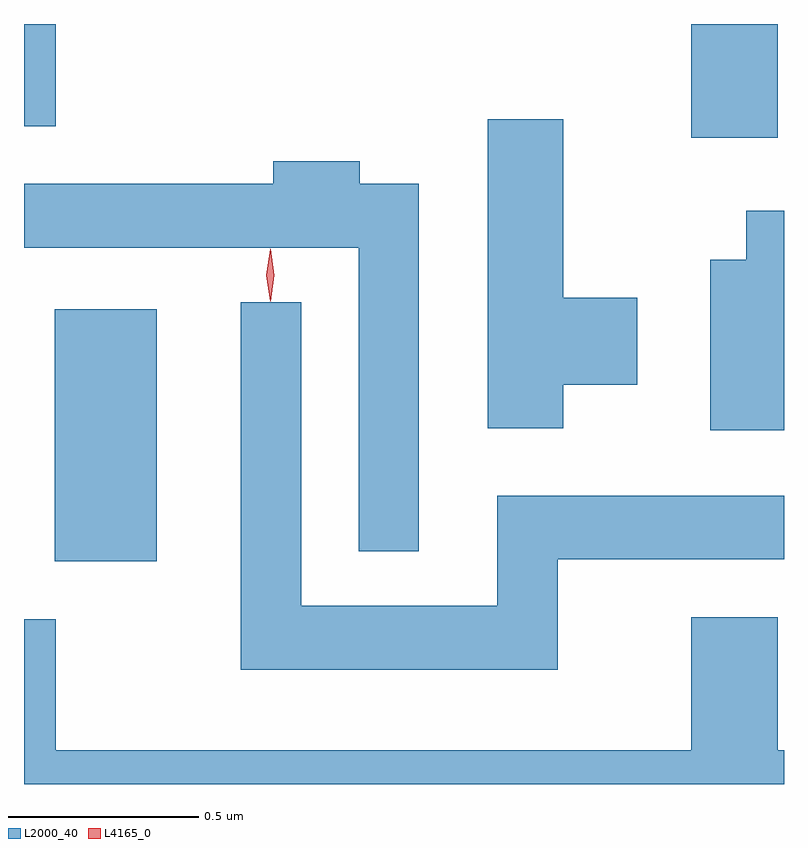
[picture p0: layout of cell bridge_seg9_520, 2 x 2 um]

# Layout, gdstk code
import gdstk
lib = gdstk.Library(unit=1e-6, precision=1e-09)
def R(c, l, rs):  # rectangles x0, y0, x1, y1
    for r in rs: c.add(gdstk.rectangle(r[:2], r[2:], *l))
def P(c, l, *ps):  # polygons
    for p in ps: c.add(gdstk.Polygon(p, *l))
L2000_40 = (2000, 40)
L4165_0 = (4165, 0)

bridge_seg9_520 = lib.new_cell('bridge_seg9_520')
R(bridge_seg9_520, L2000_40, [(546.786,1945.961,547.054,1946.624), (548.461,1947.076,548.689,1947.375), (546.705,1947.106,546.789,1947.375)])
P(bridge_seg9_520, L2000_40, [(548.124,1946.426),(548.319,1946.426),(548.319,1946.654),(548.124,1946.654),(548.124,1947.124),(547.926,1947.124),(547.926,1946.311),(548.124,1946.311)],
  [(547.744,1946.954),(547.589,1946.954),(547.589,1947.014),(547.361,1947.014),(547.361,1946.954),(546.705,1946.954),(546.705,1946.786),(547.586,1946.786),(547.586,1945.988),(547.744,1945.988)],
  [(548.705,1946.884),(548.606,1946.884),(548.606,1946.754),(548.511,1946.754),(548.511,1946.306),(548.705,1946.306)],
  [(548.109,1945.966),(548.705,1945.966),(548.705,1946.134),(547.951,1946.134),(547.951,1945.844),(547.434,1945.844),(547.434,1946.643),(547.276,1946.643),(547.276,1945.676),(548.109,1945.676)],
  [(548.705,1945.464),(548.689,1945.464),(548.689,1945.814),(548.461,1945.814),(548.461,1945.464),(546.789,1945.464),(546.789,1945.809),(546.705,1945.809),(546.705,1945.375),(548.705,1945.375)])
P(bridge_seg9_520, L4165_0, [(547.353,1946.645),(547.353,1946.645),(547.343,1946.714),(547.353,1946.782),(547.353,1946.783),(547.354,1946.782),(547.363,1946.714),(547.354,1946.645)],
  [(547.353,1946.648),(547.344,1946.714),(547.353,1946.78),(547.354,1946.78),(547.354,1946.78),(547.364,1946.714),(547.354,1946.648),(547.354,1946.648)])

lib.write_gds('bridge_seg9_520.gds')
